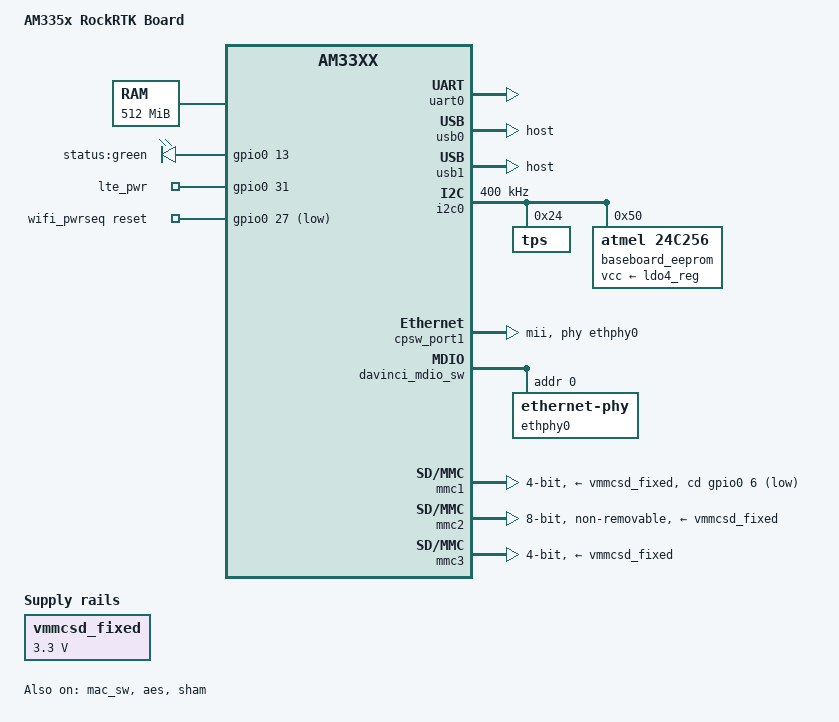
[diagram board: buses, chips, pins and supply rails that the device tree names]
/dts-v1/;

#include "am33xx.dtsi"
#include "am335x-rockrtk-pinmux.dtsi"

/ {
	model = "AM335x RockRTK Board";
	compatible = "ti,am33xx";

    cpus {
		cpu@0 {
			cpu0-supply = <&dcdc2_reg>;
		};
	};

	memory@80000000 {
		device_type = "memory";
		reg = <0x80000000 0x20000000>; /* 512 MB */
	};

	chosen {
		stdout-path = &uart0;
	};

	leds {
        compatible = "gpio-leds";

        status_led {
            label = "status:green";
            gpios = <&gpio0 13 GPIO_ACTIVE_HIGH>;  
            default-state = "off";  
            linux,default-trigger = "heartbeat";  
        };
    };

	gpio-export {
        compatible = "gpio-export";
        #size-cells = <0>;

        lte_power {
            gpio-export,name = "lte_pwr";
            gpios = <&gpio0 31 GPIO_ACTIVE_HIGH>;
            gpio-export,output = <1>;  
        };
    };

	vmmcsd_fixed: fixedregulator0 {
		compatible = "regulator-fixed";
		regulator-name = "vmmcsd_fixed";
		regulator-min-microvolt = <3300000>;
		regulator-max-microvolt = <3300000>;
	};

	wifi_pwrseq: wifi_pwrseq {
		compatible = "mmc-pwrseq-simple";
		reset-gpios = <&gpio0 27 GPIO_ACTIVE_LOW>;
 		clocks = <&clk_24mhz_clkctrl AM3_CLK_24MHZ_CLKDIV32K_CLKCTRL 0>;
		clock-names = "ext_clock";
	};
};


&cpu0_opp_table {
	/*
	 * All PG 2.0 silicon may not support 1GHz but some of the early
	 * BeagleBone Blacks have PG 2.0 silicon which is guaranteed
	 * to support 1GHz OPP so enable it for PG 2.0 on this board.
	 */
	opp-1000000000 {
		/* OPP Nitro */
		opp-supported-hw = <0x06 0x0100>;
	};
};

&uart0 {
	pinctrl-names = "default";
	pinctrl-0 = <&uart0_pins>;

	status = "okay";
};

&usb0 {
	dr_mode = "host";
};

&usb1 {
	dr_mode = "host";
};

&i2c0 {
	pinctrl-names = "default";
	pinctrl-0 = <&i2c0_pins>;

	status = "okay";
	clock-frequency = <400000>;

	tps: tps@24 {
 		reg = <0x24>;
	};

	baseboard_eeprom: baseboard_eeprom@50 {
		compatible = "atmel,24c256";
		reg = <0x50>;
		vcc-supply = <&ldo4_reg>;

		nvmem-layout {
			compatible = "fixed-layout";
			#address-cells = <1>;
			#size-cells = <1>;

			baseboard_data: baseboard_data@0 {
				reg = <0 0x100>;
			};
		};
	};
};

#include "am335x-rockrtk-pmic.dtsi"

&cpsw_port1 {
	phy-handle = <&ethphy0>;
	phy-mode = "mii";
	ti,dual-emac-pvid = <1>;
};

&cpsw_port2 {
	status = "disabled";
};

&mac_sw {
	pinctrl-names = "default", "sleep";
	pinctrl-0 = <&cpsw_default>;
	pinctrl-1 = <&cpsw_sleep>;
	status = "okay";
};

&davinci_mdio_sw {
	pinctrl-names = "default", "sleep";
	pinctrl-0 = <&davinci_mdio_default>;
	pinctrl-1 = <&davinci_mdio_sleep>;

	ethphy0: ethernet-phy@0 {
		reg = <0>;
		reset-assert-us = <300>;
		reset-deassert-us = <13000>;
	};
};

&mmc1 {
	status = "okay";
    vmmc-supply = <&vmmcsd_fixed>;
	bus-width = <0x4>;
	pinctrl-names = "default";
	pinctrl-0 = <&mmc1_pins>;
	cd-gpios = <&gpio0 6 GPIO_ACTIVE_LOW>;
};

&mmc2 {
	vmmc-supply = <&vmmcsd_fixed>;
	pinctrl-names = "default";
	pinctrl-0 = <&emmc_pins>;
	bus-width = <8>;
	status = "okay";
	non-removable;
};

&mmc3 {
    status = "okay";
    vmmc-supply = <&vmmcsd_fixed>;   
    pinctrl-names = "default";
    pinctrl-0 = <&ap6256_mmc3_pins>;
    bus-width = <4>;

	dmas = <&edma_xbar 12 0 1
			&edma_xbar 13 0 2>;
	dma-names = "tx", "rx";
 
    mmc-pwrseq = <&wifi_pwrseq>;
    max-frequency = <50000000>;

	#address-cells = <1>;
	#size-cells = <0>;
	no-1-8-v;
	ti,non-removable;
	ti,needs-special-hs-handling;
	cap-power-off-card;
	keep-power-in-suspend;
};

// &gpio0 {
//     wl_reg_on_hog: wl_reg_on_hog {
//         gpio-hog;
//         gpios = <27 GPIO_ACTIVE_HIGH>;
//         output-high;
//         line-name = "wl_reg_on_force";
//     };
// };

&aes {
	status = "okay";
};

&sham {
	status = "okay";
};

&rtc {
	clocks = <&clk_32768_ck>, <&clk_24mhz_clkctrl AM3_CLK_24MHZ_CLKDIV32K_CLKCTRL 0>;
	clock-names = "ext-clk", "int-clk";
	system-power-controller;
};

&wkup_m3_ipc {
	firmware-name = "am335x-bone-scale-data.bin";
};
